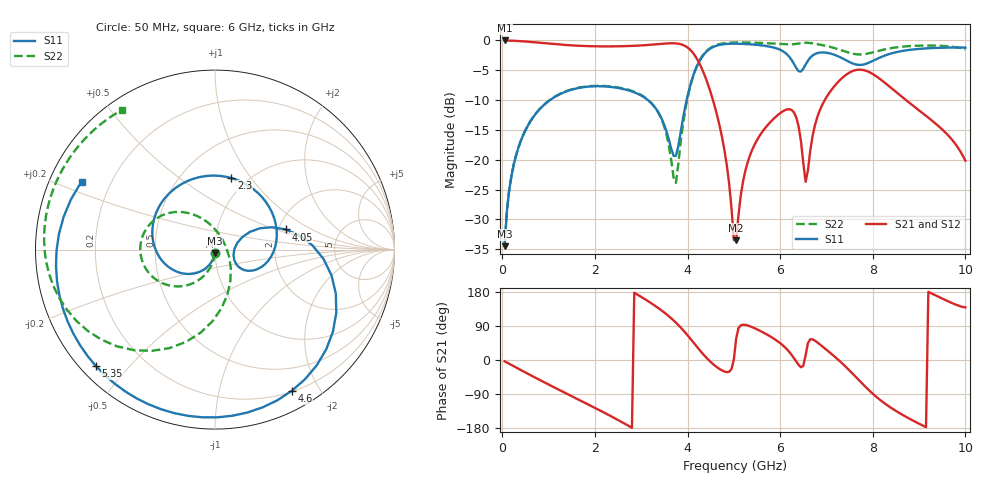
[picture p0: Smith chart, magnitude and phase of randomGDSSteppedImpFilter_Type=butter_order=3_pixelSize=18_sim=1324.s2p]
! freq	dB(S11)	phase(S11)	dB(S12)	phase(S12)
!  dB(S21)	phase(S21)	dB(S22)	phase(S22)
!S-par simulation data
#  GHz  S  DB  R 50
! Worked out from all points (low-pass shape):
!   200 points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, 50 MHz to 10 GHz, reference 50 ohm
!   highest |S21| = -0.01 dB at 50 MHz (marker M1); lowest = -33.5 dB at 5.05 GHz (marker M2)
!   |S21| within 3 dB of the highest: start of sweep to 4.197 GHz
!   lowest |S11| = -34.5 dB at 50 MHz (marker M3), VSWR 1.04, Z = 49.8 - j1.87 ohm
!   |S11| at or under -10 dB: start of sweep to 1.03 GHz; 3.143 GHz to 3.981 GHz (838.2 MHz wide, 23.5 % of centre)
!   |S22| runs from -34.5 to -0.3 dB; largest |S21 - S12| = 0
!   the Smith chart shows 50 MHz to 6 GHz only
!   S11 on the Smith chart (normalised r, x): 50 MHz: 1.00, -0.04; 2.3 GHz: 0.85, +0.81; 4.05 GHz: 2.19, +0.59; 4.6 GHz: 0.21, -1.66; 5.35 GHz: 0.04, -0.41; 6 GHz: 0.10, +0.24
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0.05  -34.50 -93.9  -0.01 -3.4  -0.01 -3.4  -34.48 -92.3
0.5  -15.06 -131.2  -0.18 -33.0  -0.18 -33.0  -15.03 -115.8
1.75  -7.84 126.8  -0.93 -110.8  -0.93 -110.8  -7.79 -169.2
2.3  -7.77 77.0  -1.00 -145.3  -1.00 -145.3  -7.69 171.9
3.4  -12.48 -29.6  -0.60 134.3  -0.60 134.3  -12.57 122.7
3.75  -19.36 1.2  -0.50 98.6  -0.50 98.6  -23.89 9.7
4.05  -7.77 16.0  -1.51 58.0  -1.51 58.0  -7.99 -91.9
4.6  -0.96 -61.4  -11.41 -15.7  -11.41 -15.7  -0.83 -162.7
5.05  -0.55 -108.7  -33.54 56.2  -33.54 56.2  -0.34 165.0
5.35  -0.65 -135.6  -19.25 89.0  -19.25 89.0  -0.36 149.8
6  -1.57 153.0  -12.20 44.5  -12.20 44.5  -0.59 123.5
6.25  -3.31 92.5  -11.67 13.2  -11.67 13.2  -0.65 115.2
6.4  -5.17 15.8  -14.47 -13.3  -14.47 -13.3  -0.52 110.3
6.55  -4.05 -77.3  -23.71 12.3  -23.71 12.3  -0.39 103.8
6.7  -2.53 -134.9  -16.03 54.5  -16.03 54.5  -0.49 97.0
6.95  -2.03 169.0  -10.19 32.1  -10.19 32.1  -0.85 86.8
7.35  -3.03 93.2  -6.22 -10.1  -6.22 -10.1  -1.72 73.2
7.75  -4.10 -5.6  -4.91 -59.4  -4.91 -59.4  -2.35 66.2
8.05  -3.25 -74.7  -5.88 -94.4  -5.88 -94.4  -1.90 60.2
8.35  -2.30 -122.7  -7.67 -122.6  -7.67 -122.6  -1.36 49.9
9.1  -1.36 162.6  -12.34 -174.2  -12.34 -174.2  -0.86 17.3
10  -1.21 87.5  -20.17 138.7  -20.17 138.7  -1.49 -37.0
